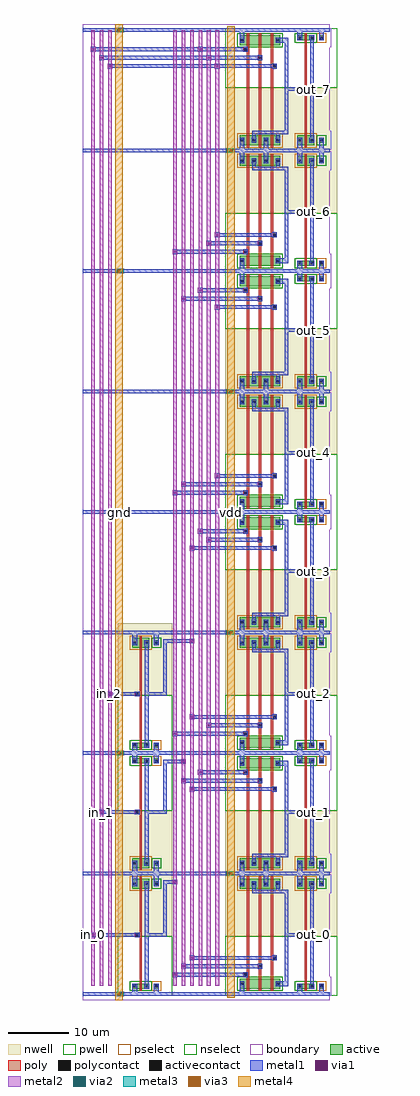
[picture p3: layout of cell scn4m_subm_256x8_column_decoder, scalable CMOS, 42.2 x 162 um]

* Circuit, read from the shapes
.subckt scn4m_subm_256x8_column_decoder gnd in_0 in_1 in_2 out_0 out_1 out_2 out_3 out_4 out_5 out_6 out_7 vdd
M1 scn4m_subm_256x8_hierarchical_predecode3x8_0_0/scn4m_subm_256x8_pand3_3/A in_0 gnd gnd nfet w=0.8u l=0.4u
M2 scn4m_subm_256x8_hierarchical_predecode3x8_0_0/scn4m_subm_256x8_pand3_3/B in_1 gnd gnd nfet w=0.8u l=0.4u
M3 scn4m_subm_256x8_hierarchical_predecode3x8_0_0/scn4m_subm_256x8_pand3_3/C in_2 gnd gnd nfet w=0.8u l=0.4u
M4 scn4m_subm_256x8_hierarchical_predecode3x8_0_0/scn4m_subm_256x8_pand3_3/scn4m_subm_256x8_pnand3_0_0/scn4m_subm_256x8_nmos_m1_w1_600_sm1_dactive_3/D scn4m_subm_256x8_hierarchical_predecode3x8_0_0/scn4m_subm_256x8_pand3_3/A gnd gnd nfet w=1.6u l=0.4u
M5 scn4m_subm_256x8_hierarchical_predecode3x8_0_0/scn4m_subm_256x8_pand3_4/scn4m_subm_256x8_pnand3_0_0/scn4m_subm_256x8_nmos_m1_w1_600_sm1_dactive_3/D in_0 gnd gnd nfet w=1.6u l=0.4u
M6 scn4m_subm_256x8_hierarchical_predecode3x8_0_0/scn4m_subm_256x8_pand3_5/scn4m_subm_256x8_pnand3_0_0/scn4m_subm_256x8_nmos_m1_w1_600_sm1_dactive_3/D scn4m_subm_256x8_hierarchical_predecode3x8_0_0/scn4m_subm_256x8_pand3_3/A gnd gnd nfet w=1.6u l=0.4u
M7 scn4m_subm_256x8_hierarchical_predecode3x8_0_0/scn4m_subm_256x8_pand3_6/scn4m_subm_256x8_pnand3_0_0/scn4m_subm_256x8_nmos_m1_w1_600_sm1_dactive_3/D in_0 gnd gnd nfet w=1.6u l=0.4u
M8 scn4m_subm_256x8_hierarchical_predecode3x8_0_0/scn4m_subm_256x8_pand3_7/scn4m_subm_256x8_pnand3_0_0/scn4m_subm_256x8_nmos_m1_w1_600_sm1_dactive_3/D scn4m_subm_256x8_hierarchical_predecode3x8_0_0/scn4m_subm_256x8_pand3_3/A gnd gnd nfet w=1.6u l=0.4u
M9 scn4m_subm_256x8_hierarchical_predecode3x8_0_0/scn4m_subm_256x8_pand3_8/scn4m_subm_256x8_pnand3_0_0/scn4m_subm_256x8_nmos_m1_w1_600_sm1_dactive_3/D in_0 gnd gnd nfet w=1.6u l=0.4u
M10 scn4m_subm_256x8_hierarchical_predecode3x8_0_0/scn4m_subm_256x8_pand3_9/scn4m_subm_256x8_pnand3_0_0/scn4m_subm_256x8_nmos_m1_w1_600_sm1_dactive_3/D scn4m_subm_256x8_hierarchical_predecode3x8_0_0/scn4m_subm_256x8_pand3_3/A gnd gnd nfet w=1.6u l=0.4u
M11 scn4m_subm_256x8_hierarchical_predecode3x8_0_0/scn4m_subm_256x8_pand3_10/scn4m_subm_256x8_pnand3_0_0/scn4m_subm_256x8_nmos_m1_w1_600_sm1_dactive_3/D in_0 gnd gnd nfet w=1.6u l=0.4u
M12 scn4m_subm_256x8_hierarchical_predecode3x8_0_0/scn4m_subm_256x8_pand3_3/scn4m_subm_256x8_pnand3_0_0/scn4m_subm_256x8_nmos_m1_w1_600_sactive_dactive_4/D scn4m_subm_256x8_hierarchical_predecode3x8_0_0/scn4m_subm_256x8_pand3_3/B scn4m_subm_256x8_hierarchical_predecode3x8_0_0/scn4m_subm_256x8_pand3_3/scn4m_subm_256x8_pnand3_0_0/scn4m_subm_256x8_nmos_m1_w1_600_sm1_dactive_3/D gnd nfet w=1.6u l=0.4u
M13 scn4m_subm_256x8_hierarchical_predecode3x8_0_0/scn4m_subm_256x8_pand3_4/scn4m_subm_256x8_pnand3_0_0/scn4m_subm_256x8_nmos_m1_w1_600_sactive_dactive_4/D scn4m_subm_256x8_hierarchical_predecode3x8_0_0/scn4m_subm_256x8_pand3_3/B scn4m_subm_256x8_hierarchical_predecode3x8_0_0/scn4m_subm_256x8_pand3_4/scn4m_subm_256x8_pnand3_0_0/scn4m_subm_256x8_nmos_m1_w1_600_sm1_dactive_3/D gnd nfet w=1.6u l=0.4u
M14 scn4m_subm_256x8_hierarchical_predecode3x8_0_0/scn4m_subm_256x8_pand3_5/scn4m_subm_256x8_pnand3_0_0/scn4m_subm_256x8_nmos_m1_w1_600_sactive_dactive_4/D in_1 scn4m_subm_256x8_hierarchical_predecode3x8_0_0/scn4m_subm_256x8_pand3_5/scn4m_subm_256x8_pnand3_0_0/scn4m_subm_256x8_nmos_m1_w1_600_sm1_dactive_3/D gnd nfet w=1.6u l=0.4u
M15 scn4m_subm_256x8_hierarchical_predecode3x8_0_0/scn4m_subm_256x8_pand3_6/scn4m_subm_256x8_pnand3_0_0/scn4m_subm_256x8_nmos_m1_w1_600_sactive_dactive_4/D in_1 scn4m_subm_256x8_hierarchical_predecode3x8_0_0/scn4m_subm_256x8_pand3_6/scn4m_subm_256x8_pnand3_0_0/scn4m_subm_256x8_nmos_m1_w1_600_sm1_dactive_3/D gnd nfet w=1.6u l=0.4u
M16 scn4m_subm_256x8_hierarchical_predecode3x8_0_0/scn4m_subm_256x8_pand3_7/scn4m_subm_256x8_pnand3_0_0/scn4m_subm_256x8_nmos_m1_w1_600_sactive_dactive_4/D scn4m_subm_256x8_hierarchical_predecode3x8_0_0/scn4m_subm_256x8_pand3_3/B scn4m_subm_256x8_hierarchical_predecode3x8_0_0/scn4m_subm_256x8_pand3_7/scn4m_subm_256x8_pnand3_0_0/scn4m_subm_256x8_nmos_m1_w1_600_sm1_dactive_3/D gnd nfet w=1.6u l=0.4u
M17 scn4m_subm_256x8_hierarchical_predecode3x8_0_0/scn4m_subm_256x8_pand3_8/scn4m_subm_256x8_pnand3_0_0/scn4m_subm_256x8_nmos_m1_w1_600_sactive_dactive_4/D scn4m_subm_256x8_hierarchical_predecode3x8_0_0/scn4m_subm_256x8_pand3_3/B scn4m_subm_256x8_hierarchical_predecode3x8_0_0/scn4m_subm_256x8_pand3_8/scn4m_subm_256x8_pnand3_0_0/scn4m_subm_256x8_nmos_m1_w1_600_sm1_dactive_3/D gnd nfet w=1.6u l=0.4u
M18 scn4m_subm_256x8_hierarchical_predecode3x8_0_0/scn4m_subm_256x8_pand3_9/scn4m_subm_256x8_pnand3_0_0/scn4m_subm_256x8_nmos_m1_w1_600_sactive_dactive_4/D in_1 scn4m_subm_256x8_hierarchical_predecode3x8_0_0/scn4m_subm_256x8_pand3_9/scn4m_subm_256x8_pnand3_0_0/scn4m_subm_256x8_nmos_m1_w1_600_sm1_dactive_3/D gnd nfet w=1.6u l=0.4u
M19 scn4m_subm_256x8_hierarchical_predecode3x8_0_0/scn4m_subm_256x8_pand3_10/scn4m_subm_256x8_pnand3_0_0/scn4m_subm_256x8_nmos_m1_w1_600_sactive_dactive_4/D in_1 scn4m_subm_256x8_hierarchical_predecode3x8_0_0/scn4m_subm_256x8_pand3_10/scn4m_subm_256x8_pnand3_0_0/scn4m_subm_256x8_nmos_m1_w1_600_sm1_dactive_3/D gnd nfet w=1.6u l=0.4u
M20 scn4m_subm_256x8_hierarchical_predecode3x8_0_0/scn4m_subm_256x8_pand3_3/scn4m_subm_256x8_pdriver_1/A scn4m_subm_256x8_hierarchical_predecode3x8_0_0/scn4m_subm_256x8_pand3_3/C scn4m_subm_256x8_hierarchical_predecode3x8_0_0/scn4m_subm_256x8_pand3_3/scn4m_subm_256x8_pnand3_0_0/scn4m_subm_256x8_nmos_m1_w1_600_sactive_dactive_4/D gnd nfet w=1.6u l=0.4u
M21 scn4m_subm_256x8_hierarchical_predecode3x8_0_0/scn4m_subm_256x8_pand3_4/scn4m_subm_256x8_pdriver_1/A scn4m_subm_256x8_hierarchical_predecode3x8_0_0/scn4m_subm_256x8_pand3_3/C scn4m_subm_256x8_hierarchical_predecode3x8_0_0/scn4m_subm_256x8_pand3_4/scn4m_subm_256x8_pnand3_0_0/scn4m_subm_256x8_nmos_m1_w1_600_sactive_dactive_4/D gnd nfet w=1.6u l=0.4u
M22 scn4m_subm_256x8_hierarchical_predecode3x8_0_0/scn4m_subm_256x8_pand3_5/scn4m_subm_256x8_pdriver_1/A scn4m_subm_256x8_hierarchical_predecode3x8_0_0/scn4m_subm_256x8_pand3_3/C scn4m_subm_256x8_hierarchical_predecode3x8_0_0/scn4m_subm_256x8_pand3_5/scn4m_subm_256x8_pnand3_0_0/scn4m_subm_256x8_nmos_m1_w1_600_sactive_dactive_4/D gnd nfet w=1.6u l=0.4u
M23 scn4m_subm_256x8_hierarchical_predecode3x8_0_0/scn4m_subm_256x8_pand3_6/scn4m_subm_256x8_pdriver_1/A scn4m_subm_256x8_hierarchical_predecode3x8_0_0/scn4m_subm_256x8_pand3_3/C scn4m_subm_256x8_hierarchical_predecode3x8_0_0/scn4m_subm_256x8_pand3_6/scn4m_subm_256x8_pnand3_0_0/scn4m_subm_256x8_nmos_m1_w1_600_sactive_dactive_4/D gnd nfet w=1.6u l=0.4u
M24 scn4m_subm_256x8_hierarchical_predecode3x8_0_0/scn4m_subm_256x8_pand3_7/scn4m_subm_256x8_pdriver_1/A in_2 scn4m_subm_256x8_hierarchical_predecode3x8_0_0/scn4m_subm_256x8_pand3_7/scn4m_subm_256x8_pnand3_0_0/scn4m_subm_256x8_nmos_m1_w1_600_sactive_dactive_4/D gnd nfet w=1.6u l=0.4u
M25 scn4m_subm_256x8_hierarchical_predecode3x8_0_0/scn4m_subm_256x8_pand3_8/scn4m_subm_256x8_pdriver_1/A in_2 scn4m_subm_256x8_hierarchical_predecode3x8_0_0/scn4m_subm_256x8_pand3_8/scn4m_subm_256x8_pnand3_0_0/scn4m_subm_256x8_nmos_m1_w1_600_sactive_dactive_4/D gnd nfet w=1.6u l=0.4u
M26 scn4m_subm_256x8_hierarchical_predecode3x8_0_0/scn4m_subm_256x8_pand3_9/scn4m_subm_256x8_pdriver_1/A in_2 scn4m_subm_256x8_hierarchical_predecode3x8_0_0/scn4m_subm_256x8_pand3_9/scn4m_subm_256x8_pnand3_0_0/scn4m_subm_256x8_nmos_m1_w1_600_sactive_dactive_4/D gnd nfet w=1.6u l=0.4u
M27 scn4m_subm_256x8_hierarchical_predecode3x8_0_0/scn4m_subm_256x8_pand3_10/scn4m_subm_256x8_pdriver_1/A in_2 scn4m_subm_256x8_hierarchical_predecode3x8_0_0/scn4m_subm_256x8_pand3_10/scn4m_subm_256x8_pnand3_0_0/scn4m_subm_256x8_nmos_m1_w1_600_sactive_dactive_4/D gnd nfet w=1.6u l=0.4u
M28 out_0 scn4m_subm_256x8_hierarchical_predecode3x8_0_0/scn4m_subm_256x8_pand3_3/scn4m_subm_256x8_pdriver_1/A gnd gnd nfet w=0.8u l=0.4u
M29 out_1 scn4m_subm_256x8_hierarchical_predecode3x8_0_0/scn4m_subm_256x8_pand3_4/scn4m_subm_256x8_pdriver_1/A gnd gnd nfet w=0.8u l=0.4u
M30 out_2 scn4m_subm_256x8_hierarchical_predecode3x8_0_0/scn4m_subm_256x8_pand3_5/scn4m_subm_256x8_pdriver_1/A gnd gnd nfet w=0.8u l=0.4u
M31 out_3 scn4m_subm_256x8_hierarchical_predecode3x8_0_0/scn4m_subm_256x8_pand3_6/scn4m_subm_256x8_pdriver_1/A gnd gnd nfet w=0.8u l=0.4u
M32 out_4 scn4m_subm_256x8_hierarchical_predecode3x8_0_0/scn4m_subm_256x8_pand3_7/scn4m_subm_256x8_pdriver_1/A gnd gnd nfet w=0.8u l=0.4u
M33 out_5 scn4m_subm_256x8_hierarchical_predecode3x8_0_0/scn4m_subm_256x8_pand3_8/scn4m_subm_256x8_pdriver_1/A gnd gnd nfet w=0.8u l=0.4u
M34 out_6 scn4m_subm_256x8_hierarchical_predecode3x8_0_0/scn4m_subm_256x8_pand3_9/scn4m_subm_256x8_pdriver_1/A gnd gnd nfet w=0.8u l=0.4u
M35 out_7 scn4m_subm_256x8_hierarchical_predecode3x8_0_0/scn4m_subm_256x8_pand3_10/scn4m_subm_256x8_pdriver_1/A gnd gnd nfet w=0.8u l=0.4u
M36 scn4m_subm_256x8_hierarchical_predecode3x8_0_0/scn4m_subm_256x8_pand3_3/A in_0 vdd vdd pfet w=1.6u l=0.4u
M37 scn4m_subm_256x8_hierarchical_predecode3x8_0_0/scn4m_subm_256x8_pand3_3/B in_1 vdd vdd pfet w=1.6u l=0.4u
M38 scn4m_subm_256x8_hierarchical_predecode3x8_0_0/scn4m_subm_256x8_pand3_3/C in_2 vdd vdd pfet w=1.6u l=0.4u
M39 scn4m_subm_256x8_hierarchical_predecode3x8_0_0/scn4m_subm_256x8_pand3_3/scn4m_subm_256x8_pdriver_1/A scn4m_subm_256x8_hierarchical_predecode3x8_0_0/scn4m_subm_256x8_pand3_3/A vdd vdd pfet w=1.6u l=0.4u
M40 scn4m_subm_256x8_hierarchical_predecode3x8_0_0/scn4m_subm_256x8_pand3_4/scn4m_subm_256x8_pdriver_1/A in_0 vdd vdd pfet w=1.6u l=0.4u
M41 scn4m_subm_256x8_hierarchical_predecode3x8_0_0/scn4m_subm_256x8_pand3_5/scn4m_subm_256x8_pdriver_1/A scn4m_subm_256x8_hierarchical_predecode3x8_0_0/scn4m_subm_256x8_pand3_3/A vdd vdd pfet w=1.6u l=0.4u
M42 scn4m_subm_256x8_hierarchical_predecode3x8_0_0/scn4m_subm_256x8_pand3_6/scn4m_subm_256x8_pdriver_1/A in_0 vdd vdd pfet w=1.6u l=0.4u
M43 scn4m_subm_256x8_hierarchical_predecode3x8_0_0/scn4m_subm_256x8_pand3_7/scn4m_subm_256x8_pdriver_1/A scn4m_subm_256x8_hierarchical_predecode3x8_0_0/scn4m_subm_256x8_pand3_3/A vdd vdd pfet w=1.6u l=0.4u
M44 scn4m_subm_256x8_hierarchical_predecode3x8_0_0/scn4m_subm_256x8_pand3_8/scn4m_subm_256x8_pdriver_1/A in_0 vdd vdd pfet w=1.6u l=0.4u
M45 scn4m_subm_256x8_hierarchical_predecode3x8_0_0/scn4m_subm_256x8_pand3_9/scn4m_subm_256x8_pdriver_1/A scn4m_subm_256x8_hierarchical_predecode3x8_0_0/scn4m_subm_256x8_pand3_3/A vdd vdd pfet w=1.6u l=0.4u
M46 scn4m_subm_256x8_hierarchical_predecode3x8_0_0/scn4m_subm_256x8_pand3_10/scn4m_subm_256x8_pdriver_1/A in_0 vdd vdd pfet w=1.6u l=0.4u
M47 vdd scn4m_subm_256x8_hierarchical_predecode3x8_0_0/scn4m_subm_256x8_pand3_3/B scn4m_subm_256x8_hierarchical_predecode3x8_0_0/scn4m_subm_256x8_pand3_3/scn4m_subm_256x8_pdriver_1/A vdd pfet w=1.6u l=0.4u
M48 vdd scn4m_subm_256x8_hierarchical_predecode3x8_0_0/scn4m_subm_256x8_pand3_3/B scn4m_subm_256x8_hierarchical_predecode3x8_0_0/scn4m_subm_256x8_pand3_4/scn4m_subm_256x8_pdriver_1/A vdd pfet w=1.6u l=0.4u
M49 vdd in_1 scn4m_subm_256x8_hierarchical_predecode3x8_0_0/scn4m_subm_256x8_pand3_5/scn4m_subm_256x8_pdriver_1/A vdd pfet w=1.6u l=0.4u
M50 vdd in_1 scn4m_subm_256x8_hierarchical_predecode3x8_0_0/scn4m_subm_256x8_pand3_6/scn4m_subm_256x8_pdriver_1/A vdd pfet w=1.6u l=0.4u
M51 vdd scn4m_subm_256x8_hierarchical_predecode3x8_0_0/scn4m_subm_256x8_pand3_3/B scn4m_subm_256x8_hierarchical_predecode3x8_0_0/scn4m_subm_256x8_pand3_7/scn4m_subm_256x8_pdriver_1/A vdd pfet w=1.6u l=0.4u
M52 vdd scn4m_subm_256x8_hierarchical_predecode3x8_0_0/scn4m_subm_256x8_pand3_3/B scn4m_subm_256x8_hierarchical_predecode3x8_0_0/scn4m_subm_256x8_pand3_8/scn4m_subm_256x8_pdriver_1/A vdd pfet w=1.6u l=0.4u
M53 vdd in_1 scn4m_subm_256x8_hierarchical_predecode3x8_0_0/scn4m_subm_256x8_pand3_9/scn4m_subm_256x8_pdriver_1/A vdd pfet w=1.6u l=0.4u
M54 vdd in_1 scn4m_subm_256x8_hierarchical_predecode3x8_0_0/scn4m_subm_256x8_pand3_10/scn4m_subm_256x8_pdriver_1/A vdd pfet w=1.6u l=0.4u
M55 scn4m_subm_256x8_hierarchical_predecode3x8_0_0/scn4m_subm_256x8_pand3_3/scn4m_subm_256x8_pdriver_1/A scn4m_subm_256x8_hierarchical_predecode3x8_0_0/scn4m_subm_256x8_pand3_3/C vdd vdd pfet w=1.6u l=0.4u
M56 scn4m_subm_256x8_hierarchical_predecode3x8_0_0/scn4m_subm_256x8_pand3_4/scn4m_subm_256x8_pdriver_1/A scn4m_subm_256x8_hierarchical_predecode3x8_0_0/scn4m_subm_256x8_pand3_3/C vdd vdd pfet w=1.6u l=0.4u
M57 scn4m_subm_256x8_hierarchical_predecode3x8_0_0/scn4m_subm_256x8_pand3_5/scn4m_subm_256x8_pdriver_1/A scn4m_subm_256x8_hierarchical_predecode3x8_0_0/scn4m_subm_256x8_pand3_3/C vdd vdd pfet w=1.6u l=0.4u
M58 scn4m_subm_256x8_hierarchical_predecode3x8_0_0/scn4m_subm_256x8_pand3_6/scn4m_subm_256x8_pdriver_1/A scn4m_subm_256x8_hierarchical_predecode3x8_0_0/scn4m_subm_256x8_pand3_3/C vdd vdd pfet w=1.6u l=0.4u
M59 scn4m_subm_256x8_hierarchical_predecode3x8_0_0/scn4m_subm_256x8_pand3_7/scn4m_subm_256x8_pdriver_1/A in_2 vdd vdd pfet w=1.6u l=0.4u
M60 scn4m_subm_256x8_hierarchical_predecode3x8_0_0/scn4m_subm_256x8_pand3_8/scn4m_subm_256x8_pdriver_1/A in_2 vdd vdd pfet w=1.6u l=0.4u
M61 scn4m_subm_256x8_hierarchical_predecode3x8_0_0/scn4m_subm_256x8_pand3_9/scn4m_subm_256x8_pdriver_1/A in_2 vdd vdd pfet w=1.6u l=0.4u
M62 scn4m_subm_256x8_hierarchical_predecode3x8_0_0/scn4m_subm_256x8_pand3_10/scn4m_subm_256x8_pdriver_1/A in_2 vdd vdd pfet w=1.6u l=0.4u
M63 out_0 scn4m_subm_256x8_hierarchical_predecode3x8_0_0/scn4m_subm_256x8_pand3_3/scn4m_subm_256x8_pdriver_1/A vdd vdd pfet w=1.6u l=0.4u
M64 out_1 scn4m_subm_256x8_hierarchical_predecode3x8_0_0/scn4m_subm_256x8_pand3_4/scn4m_subm_256x8_pdriver_1/A vdd vdd pfet w=1.6u l=0.4u
M65 out_2 scn4m_subm_256x8_hierarchical_predecode3x8_0_0/scn4m_subm_256x8_pand3_5/scn4m_subm_256x8_pdriver_1/A vdd vdd pfet w=1.6u l=0.4u
M66 out_3 scn4m_subm_256x8_hierarchical_predecode3x8_0_0/scn4m_subm_256x8_pand3_6/scn4m_subm_256x8_pdriver_1/A vdd vdd pfet w=1.6u l=0.4u
M67 out_4 scn4m_subm_256x8_hierarchical_predecode3x8_0_0/scn4m_subm_256x8_pand3_7/scn4m_subm_256x8_pdriver_1/A vdd vdd pfet w=1.6u l=0.4u
M68 out_5 scn4m_subm_256x8_hierarchical_predecode3x8_0_0/scn4m_subm_256x8_pand3_8/scn4m_subm_256x8_pdriver_1/A vdd vdd pfet w=1.6u l=0.4u
M69 out_6 scn4m_subm_256x8_hierarchical_predecode3x8_0_0/scn4m_subm_256x8_pand3_9/scn4m_subm_256x8_pdriver_1/A vdd vdd pfet w=1.6u l=0.4u
M70 out_7 scn4m_subm_256x8_hierarchical_predecode3x8_0_0/scn4m_subm_256x8_pand3_10/scn4m_subm_256x8_pdriver_1/A vdd vdd pfet w=1.6u l=0.4u
.ends

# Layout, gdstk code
import gdstk
lib = gdstk.Library(unit=1e-6, precision=1e-09)
def R(c, l, rs):  # rectangles x0, y0, x1, y1
    for r in rs: c.add(gdstk.rectangle(r[:2], r[2:], *l))
def A(c, l, x, y, w, h, nx, ny, dx, dy):  # array of equal rectangles
    R(c, l, [(x+i*dx, y+j*dy, x+i*dx+w, y+j*dy+h) for i in range(nx) for j in range(ny)])
via3 = (30, 0)
metal4 = (31, 0)
pwell = (41, 0)
nwell = (42, 0)
active = (43, 0)
pselect = (44, 0)
nselect = (45, 0)
poly = (46, 0)
polycontact = (47, 0)
activecontact = (48, 0)
metal1 = (49, 0)
via1 = (50, 0)
metal2 = (51, 0)
via2 = (61, 0)
metal3 = (62, 0)
boundary = (63, 0)

scn4m_subm_256x8_contact = lib.new_cell('scn4m_subm_256x8_contact_12')
R(scn4m_subm_256x8_contact, nwell, [(-1.2,-1.2,2,2)])
R(scn4m_subm_256x8_contact, active, [(0,0,0.8,0.8)])
R(scn4m_subm_256x8_contact, pselect, [(-0.4,-0.4,1.2,1.2)])
R(scn4m_subm_256x8_contact, activecontact, [(0.2,0.2,0.6,0.6)])
R(scn4m_subm_256x8_contact, metal1, [(0,0,0.8,0.8)])
R(scn4m_subm_256x8_contact, boundary, [(-1.2,-1.2,2,2)])

scn4m_subm_256x8_pmos_m1 = lib.new_cell('scn4m_subm_256x8_pmos_m1_w1_600_sm1_dm1_da_p')
R(scn4m_subm_256x8_pmos_m1, nwell, [(-1.2,-1.2,4,2.8)])
R(scn4m_subm_256x8_pmos_m1, active, [(0,0,2.8,1.6)])
R(scn4m_subm_256x8_pmos_m1, pselect, [(-0.4,-0.4,3.2,2)])
R(scn4m_subm_256x8_pmos_m1, poly, [(1.2,-0.4,1.6,2), (1.2,-0.4,1.6,2)])
R(scn4m_subm_256x8_pmos_m1, metal1, [(0,0.4,0.8,1.2), (2,0.4,2.8,1.2)])
R(scn4m_subm_256x8_pmos_m1, boundary, [(-1.2,-1.2,4,2.8)])
scn4m_subm_256x8_pmos_m1.add(gdstk.Reference(scn4m_subm_256x8_contact, (0,0.4)))
scn4m_subm_256x8_pmos_m1.add(gdstk.Reference(scn4m_subm_256x8_contact, (2,0.4)))
scn4m_subm_256x8_pmos_m1.add(gdstk.Label('G', (1.4,0.8), layer=46, texttype=0))
scn4m_subm_256x8_pmos_m1.add(gdstk.Label('S', (0.4,0.8), layer=49, texttype=0))
scn4m_subm_256x8_pmos_m1.add(gdstk.Label('D', (2.4,0.8), layer=49, texttype=0))

c_scn4m_subm_256x8_contact = lib.new_cell('scn4m_subm_256x8_contact_11')
R(c_scn4m_subm_256x8_contact, pwell, [(-1.2,-1.2,2,2)])
R(c_scn4m_subm_256x8_contact, active, [(0,0,0.8,0.8)])
R(c_scn4m_subm_256x8_contact, nselect, [(-0.4,-0.4,1.2,1.2)])
R(c_scn4m_subm_256x8_contact, activecontact, [(0.2,0.2,0.6,0.6)])
R(c_scn4m_subm_256x8_contact, metal1, [(0,0,0.8,0.8)])
R(c_scn4m_subm_256x8_contact, boundary, [(-1.2,-1.2,2,2)])

scn4m_subm_256x8_nmos_m1 = lib.new_cell('scn4m_subm_256x8_nmos_m1_w0_800_sm1_dm1_da_p')
R(scn4m_subm_256x8_nmos_m1, pwell, [(-1.2,-1.2,4,2)])
R(scn4m_subm_256x8_nmos_m1, active, [(0,0,2.8,0.8)])
R(scn4m_subm_256x8_nmos_m1, nselect, [(-0.4,-0.4,3.2,1.2)])
R(scn4m_subm_256x8_nmos_m1, poly, [(1.2,-0.4,1.6,1.2), (1.2,-0.4,1.6,1.2)])
R(scn4m_subm_256x8_nmos_m1, metal1, [(0,0,0.8,0.8), (2,0,2.8,0.8)])
R(scn4m_subm_256x8_nmos_m1, boundary, [(-1.2,-1.2,4,2)])
scn4m_subm_256x8_nmos_m1.add(gdstk.Reference(c_scn4m_subm_256x8_contact, (0,0)))
scn4m_subm_256x8_nmos_m1.add(gdstk.Reference(c_scn4m_subm_256x8_contact, (2,0)))
scn4m_subm_256x8_nmos_m1.add(gdstk.Label('G', (1.4,0.4), layer=46, texttype=0))
scn4m_subm_256x8_nmos_m1.add(gdstk.Label('S', (0.4,0.4), layer=49, texttype=0))
scn4m_subm_256x8_nmos_m1.add(gdstk.Label('D', (2.4,0.4), layer=49, texttype=0))

c_scn4m_subm_256x8_contact_ = lib.new_cell('scn4m_subm_256x8_contact_13')
R(c_scn4m_subm_256x8_contact_, nwell, [(-1.2,-1.2,2,2)])
R(c_scn4m_subm_256x8_contact_, active, [(0,0,0.8,0.8)])
R(c_scn4m_subm_256x8_contact_, nselect, [(-0.4,-0.4,1.2,1.2)])
R(c_scn4m_subm_256x8_contact_, activecontact, [(0.2,0.2,0.6,0.6)])
R(c_scn4m_subm_256x8_contact_, metal1, [(0,0,0.8,0.8)])
R(c_scn4m_subm_256x8_contact_, boundary, [(-1.2,-1.2,2,2)])

c_scn4m_subm_256x8_contact__ = lib.new_cell('scn4m_subm_256x8_contact_14')
R(c_scn4m_subm_256x8_contact__, pwell, [(-1.2,-1.2,2,2)])
R(c_scn4m_subm_256x8_contact__, active, [(0,0,0.8,0.8)])
R(c_scn4m_subm_256x8_contact__, pselect, [(-0.4,-0.4,1.2,1.2)])
R(c_scn4m_subm_256x8_contact__, activecontact, [(0.2,0.2,0.6,0.6)])
R(c_scn4m_subm_256x8_contact__, metal1, [(0,0,0.8,0.8)])
R(c_scn4m_subm_256x8_contact__, boundary, [(-1.2,-1.2,2,2)])

c_scn4m_subm_256x8_contact___ = lib.new_cell('scn4m_subm_256x8_contact_15')
R(c_scn4m_subm_256x8_contact___, poly, [(0,0,0.8,0.8)])
R(c_scn4m_subm_256x8_contact___, polycontact, [(0.2,0.2,0.6,0.6)])
R(c_scn4m_subm_256x8_contact___, metal1, [(0,0,0.8,0.8)])
R(c_scn4m_subm_256x8_contact___, boundary, [(0,0,0.8,0.8)])

scn4m_subm_256x8_pinv_2 = lib.new_cell('scn4m_subm_256x8_pinv_2')
R(scn4m_subm_256x8_pinv_2, pwell, [(-1.2,-0.3,7.8,9.6)])
R(scn4m_subm_256x8_pinv_2, nwell, [(-1.2,9.6,7.8,21.5)])
R(scn4m_subm_256x8_pinv_2, poly, [(2.4,2.1,2.8,17.1), (2,9.4,2.4,10.2)])
R(scn4m_subm_256x8_pinv_2, metal1, [(0,-0.3,6.6,0.3), (1.2,-0.3,2,0.9), (4.8,0,5.6,1.3), (3.3,0.9,3.9,18.7), (1.6,9.4,2.4,10.2), (3.6,9.5,4.2,10.1), (1.2,17.9,2,20.3), (4.8,18.3,5.6,20), (0,19.7,6.6,20.3)])
R(scn4m_subm_256x8_pinv_2, boundary, [(0,0,6.6,20), (0,0,6.6,20)])
scn4m_subm_256x8_pinv_2.add(gdstk.Reference(scn4m_subm_256x8_pmos_m1, (1.2,17.5)))
scn4m_subm_256x8_pinv_2.add(gdstk.Reference(scn4m_subm_256x8_nmos_m1, (1.2,0.9)))
scn4m_subm_256x8_pinv_2.add(gdstk.Reference(c_scn4m_subm_256x8_contact_, (4.8,17.9)))
scn4m_subm_256x8_pinv_2.add(gdstk.Reference(c_scn4m_subm_256x8_contact__, (4.8,0.9)))
scn4m_subm_256x8_pinv_2.add(gdstk.Reference(c_scn4m_subm_256x8_contact___, (1.6,9.4)))
scn4m_subm_256x8_pinv_2.add(gdstk.Label('A', (2,9.8), layer=49, texttype=0))
scn4m_subm_256x8_pinv_2.add(gdstk.Label('Z', (3.9,9.8), layer=49, texttype=0))
scn4m_subm_256x8_pinv_2.add(gdstk.Label('gnd', (3.3,0), layer=49, texttype=0))
scn4m_subm_256x8_pinv_2.add(gdstk.Label('vdd', (3.3,20), layer=49, texttype=0))

c_scn4m_subm_256x8_pmos_m1 = lib.new_cell('scn4m_subm_256x8_pmos_m1_w1_600_sm1_dm1')
R(c_scn4m_subm_256x8_pmos_m1, nwell, [(-1.2,-1.2,4,2.8)])
R(c_scn4m_subm_256x8_pmos_m1, active, [(0,0,2.8,1.6)])
R(c_scn4m_subm_256x8_pmos_m1, pselect, [(-0.4,-0.4,3.2,2)])
R(c_scn4m_subm_256x8_pmos_m1, poly, [(1.2,-0.4,1.6,2), (1.2,-0.4,1.6,2)])
R(c_scn4m_subm_256x8_pmos_m1, metal1, [(0,0.4,0.8,1.2), (2,0.4,2.8,1.2)])
R(c_scn4m_subm_256x8_pmos_m1, boundary, [(-1.2,-1.2,4,2.8)])
c_scn4m_subm_256x8_pmos_m1.add(gdstk.Reference(scn4m_subm_256x8_contact, (0,0.4)))
c_scn4m_subm_256x8_pmos_m1.add(gdstk.Reference(scn4m_subm_256x8_contact, (2,0.4)))
c_scn4m_subm_256x8_pmos_m1.add(gdstk.Label('G', (1.4,0.8), layer=46, texttype=0))
c_scn4m_subm_256x8_pmos_m1.add(gdstk.Label('S', (0.4,0.8), layer=49, texttype=0))
c_scn4m_subm_256x8_pmos_m1.add(gdstk.Label('D', (2.4,0.8), layer=49, texttype=0))

c_scn4m_subm_256x8_nmos_m1 = lib.new_cell('scn4m_subm_256x8_nmos_m1_w1_600_sm1_dactive')
R(c_scn4m_subm_256x8_nmos_m1, pwell, [(-1.2,-1.2,4,2.8)])
R(c_scn4m_subm_256x8_nmos_m1, active, [(0,0,2.8,1.6), (2.1,0.5,2.7,1.1)])
R(c_scn4m_subm_256x8_nmos_m1, nselect, [(-0.4,-0.4,3.2,2)])
R(c_scn4m_subm_256x8_nmos_m1, poly, [(1.2,-0.4,1.6,2), (1.2,-0.4,1.6,2)])
R(c_scn4m_subm_256x8_nmos_m1, metal1, [(0,0.4,0.8,1.2)])
R(c_scn4m_subm_256x8_nmos_m1, boundary, [(-1.2,-1.2,4,2.8)])
c_scn4m_subm_256x8_nmos_m1.add(gdstk.Reference(c_scn4m_subm_256x8_contact, (0,0.4)))
c_scn4m_subm_256x8_nmos_m1.add(gdstk.Label('G', (1.4,0.8), layer=46, texttype=0))
c_scn4m_subm_256x8_nmos_m1.add(gdstk.Label('S', (0.4,0.8), layer=49, texttype=0))
c_scn4m_subm_256x8_nmos_m1.add(gdstk.Label('D', (2.4,0.8), layer=43, texttype=0))

c_scn4m_subm_256x8_nmos_m1_ = lib.new_cell('scn4m_subm_256x8_nmos_m1_w1_600_sactive_dactive')
R(c_scn4m_subm_256x8_nmos_m1_, pwell, [(-1.2,-1.2,4,2.8)])
R(c_scn4m_subm_256x8_nmos_m1_, active, [(0,0,2.8,1.6), (0.1,0.5,0.7,1.1), (2.1,0.5,2.7,1.1)])
R(c_scn4m_subm_256x8_nmos_m1_, nselect, [(-0.4,-0.4,3.2,2)])
R(c_scn4m_subm_256x8_nmos_m1_, poly, [(1.2,-0.4,1.6,2), (1.2,-0.4,1.6,2)])
R(c_scn4m_subm_256x8_nmos_m1_, boundary, [(-1.2,-1.2,4,2.8)])
c_scn4m_subm_256x8_nmos_m1_.add(gdstk.Label('G', (1.4,0.8), layer=46, texttype=0))
c_scn4m_subm_256x8_nmos_m1_.add(gdstk.Label('S', (0.4,0.8), layer=43, texttype=0))
c_scn4m_subm_256x8_nmos_m1_.add(gdstk.Label('D', (2.4,0.8), layer=43, texttype=0))

c_scn4m_subm_256x8_nmos_m1__ = lib.new_cell('scn4m_subm_256x8_nmos_m1_w1_600_sactive_dm1')
R(c_scn4m_subm_256x8_nmos_m1__, pwell, [(-1.2,-1.2,4,2.8)])
R(c_scn4m_subm_256x8_nmos_m1__, active, [(0,0,2.8,1.6), (0.1,0.5,0.7,1.1)])
R(c_scn4m_subm_256x8_nmos_m1__, nselect, [(-0.4,-0.4,3.2,2)])
R(c_scn4m_subm_256x8_nmos_m1__, poly, [(1.2,-0.4,1.6,2), (1.2,-0.4,1.6,2)])
R(c_scn4m_subm_256x8_nmos_m1__, metal1, [(2,0.4,2.8,1.2)])
R(c_scn4m_subm_256x8_nmos_m1__, boundary, [(-1.2,-1.2,4,2.8)])
c_scn4m_subm_256x8_nmos_m1__.add(gdstk.Reference(c_scn4m_subm_256x8_contact, (2,0.4)))
c_scn4m_subm_256x8_nmos_m1__.add(gdstk.Label('G', (1.4,0.8), layer=46, texttype=0))
c_scn4m_subm_256x8_nmos_m1__.add(gdstk.Label('S', (0.4,0.8), layer=43, texttype=0))
c_scn4m_subm_256x8_nmos_m1__.add(gdstk.Label('D', (2.4,0.8), layer=49, texttype=0))

scn4m_subm_256x8_pnand3_ = lib.new_cell('scn4m_subm_256x8_pnand3_0')
R(scn4m_subm_256x8_pnand3_, pwell, [(-1.2,-0.3,10.8,9.6)])
R(scn4m_subm_256x8_pnand3_, nwell, [(-1.2,9.6,10.8,21.5)])
A(scn4m_subm_256x8_pnand3_, poly, 2.4, 2.9, 0.4, 14.2, 3, 1, 2, 0)
R(scn4m_subm_256x8_pnand3_, poly, [(2.2,2.8,2.4,3.6), (4.4,4.2,4.6,5), (6.4,5.6,7,6.4)])
R(scn4m_subm_256x8_pnand3_, metal1, [(0,-0.3,9.6,0.3), (1.2,-0.3,2,1.3), (7.6,1.3,9,2.1), (8.7,1.3,9.3,17), (1.8,2.8,2.6,3.6), (4.2,4.2,5,5), (6.6,5.6,7.4,6.4), (3.3,16.7,3.9,17.3), (3.6,16.7,9,17.3), (7.3,16.7,7.9,17.3), (7.6,16.7,9,17.3), (8.7,16.7,9.3,17.3), (3.3,17,3.9,18.3), (7.3,17,7.9,18.3), (1.2,17.9,2,20.3), (5.2,17.9,6,20.3), (0,19.7,9.6,20.3)])
R(scn4m_subm_256x8_pnand3_, boundary, [(0,0,9.6,20), (0,0,9.6,20)])
scn4m_subm_256x8_pnand3_.add(gdstk.Reference(c_scn4m_subm_256x8_pmos_m1, (1.2,17.5)))
scn4m_subm_256x8_pnand3_.add(gdstk.Reference(c_scn4m_subm_256x8_pmos_m1, (3.2,17.5)))
scn4m_subm_256x8_pnand3_.add(gdstk.Reference(c_scn4m_subm_256x8_pmos_m1, (5.2,17.5)))
scn4m_subm_256x8_pnand3_.add(gdstk.Reference(c_scn4m_subm_256x8_nmos_m1, (1.2,0.9)))
scn4m_subm_256x8_pnand3_.add(gdstk.Reference(c_scn4m_subm_256x8_nmos_m1_, (3.2,0.9)))
scn4m_subm_256x8_pnand3_.add(gdstk.Reference(c_scn4m_subm_256x8_nmos_m1__, (5.2,0.9)))
scn4m_subm_256x8_pnand3_.add(gdstk.Reference(c_scn4m_subm_256x8_contact___, (1.8,2.8)))
scn4m_subm_256x8_pnand3_.add(gdstk.Reference(c_scn4m_subm_256x8_contact___, (4.2,4.2)))
scn4m_subm_256x8_pnand3_.add(gdstk.Reference(c_scn4m_subm_256x8_contact___, (6.6,5.6)))
scn4m_subm_256x8_pnand3_.add(gdstk.Label('A', (2.2,3.2), layer=49, texttype=0))
scn4m_subm_256x8_pnand3_.add(gdstk.Label('B', (4.6,4.6), layer=49, texttype=0))
scn4m_subm_256x8_pnand3_.add(gdstk.Label('C', (7,6), layer=49, texttype=0))
scn4m_subm_256x8_pnand3_.add(gdstk.Label('Z', (9,17), layer=49, texttype=0))
scn4m_subm_256x8_pnand3_.add(gdstk.Label('gnd', (4.8,0), layer=49, texttype=0))
scn4m_subm_256x8_pnand3_.add(gdstk.Label('vdd', (4.8,20), layer=49, texttype=0))

scn4m_subm_256x8_pinv_1 = lib.new_cell('scn4m_subm_256x8_pinv_1')
R(scn4m_subm_256x8_pinv_1, pwell, [(-1.2,-0.3,7.8,9.6)])
R(scn4m_subm_256x8_pinv_1, nwell, [(-1.2,9.6,7.8,21.5)])
R(scn4m_subm_256x8_pinv_1, poly, [(2.4,2.1,2.8,17.1), (2,9.4,2.4,10.2)])
R(scn4m_subm_256x8_pinv_1, metal1, [(0,-0.3,6.6,0.3), (1.2,-0.3,2,0.9), (4.8,0,5.6,1.3), (3.3,0.9,3.9,18.7), (1.6,9.4,2.4,10.2), (3.6,9.5,4.2,10.1), (1.2,17.9,2,20.3), (4.8,18.3,5.6,20), (0,19.7,6.6,20.3)])
R(scn4m_subm_256x8_pinv_1, boundary, [(0,0,6.6,20), (0,0,6.6,20)])
scn4m_subm_256x8_pinv_1.add(gdstk.Reference(scn4m_subm_256x8_pmos_m1, (1.2,17.5)))
scn4m_subm_256x8_pinv_1.add(gdstk.Reference(scn4m_subm_256x8_nmos_m1, (1.2,0.9)))
scn4m_subm_256x8_pinv_1.add(gdstk.Reference(c_scn4m_subm_256x8_contact_, (4.8,17.9)))
scn4m_subm_256x8_pinv_1.add(gdstk.Reference(c_scn4m_subm_256x8_contact__, (4.8,0.9)))
scn4m_subm_256x8_pinv_1.add(gdstk.Reference(c_scn4m_subm_256x8_contact___, (1.6,9.4)))
scn4m_subm_256x8_pinv_1.add(gdstk.Label('A', (2,9.8), layer=49, texttype=0))
scn4m_subm_256x8_pinv_1.add(gdstk.Label('Z', (3.9,9.8), layer=49, texttype=0))
scn4m_subm_256x8_pinv_1.add(gdstk.Label('gnd', (3.3,0), layer=49, texttype=0))
scn4m_subm_256x8_pinv_1.add(gdstk.Label('vdd', (3.3,20), layer=49, texttype=0))

scn4m_subm_256x8_pdriver = lib.new_cell('scn4m_subm_256x8_pdriver')
R(scn4m_subm_256x8_pdriver, pwell, [(-1.2,-0.3,7.8,9.6)])
R(scn4m_subm_256x8_pdriver, nwell, [(-1.2,9.6,7.8,21.5)])
R(scn4m_subm_256x8_pdriver, metal1, [(0,-0.3,6.6,0.3), (1.6,9.4,2.4,10.2), (3.6,9.5,4.2,10.1), (0,19.7,6.6,20.3)])
R(scn4m_subm_256x8_pdriver, boundary, [(0,0,6.6,20), (0,0,6.6,20)])
scn4m_subm_256x8_pdriver.add(gdstk.Reference(scn4m_subm_256x8_pinv_1, (0,0)))
scn4m_subm_256x8_pdriver.add(gdstk.Label('Z', (3.9,9.8), layer=49, texttype=0))
scn4m_subm_256x8_pdriver.add(gdstk.Label('A', (2,9.8), layer=49, texttype=0))
scn4m_subm_256x8_pdriver.add(gdstk.Label('gnd', (3.3,0), layer=49, texttype=0))
scn4m_subm_256x8_pdriver.add(gdstk.Label('vdd', (3.3,20), layer=49, texttype=0))

scn4m_subm_256x8_pand3 = lib.new_cell('scn4m_subm_256x8_pand3')
R(scn4m_subm_256x8_pand3, metal1, [(0,-0.3,16.2,0.3), (1.8,2.8,2.6,3.6), (4.2,4.2,5,5), (6.6,5.6,7.4,6.4), (8.7,9.5,9.3,10.1), (9,9.5,11.6,10.1), (13.2,9.5,13.8,10.1), (8.7,9.8,9.3,17), (0,19.7,16.2,20.3)])
R(scn4m_subm_256x8_pand3, boundary, [(0,0,16.2,20), (0,0,16.2,20)])
scn4m_subm_256x8_pand3.add(gdstk.Reference(scn4m_subm_256x8_pnand3_, (0,0)))
scn4m_subm_256x8_pand3.add(gdstk.Reference(scn4m_subm_256x8_pdriver, (9.6,0)))
scn4m_subm_256x8_pand3.add(gdstk.Label('Z', (13.5,9.8), layer=49, texttype=0))
scn4m_subm_256x8_pand3.add(gdstk.Label('A', (2.2,3.2), layer=49, texttype=0))
scn4m_subm_256x8_pand3.add(gdstk.Label('B', (4.6,4.6), layer=49, texttype=0))
scn4m_subm_256x8_pand3.add(gdstk.Label('C', (7,6), layer=49, texttype=0))
scn4m_subm_256x8_pand3.add(gdstk.Label('gnd', (8.1,0), layer=49, texttype=0))
scn4m_subm_256x8_pand3.add(gdstk.Label('vdd', (8.1,20), layer=49, texttype=0))

c_scn4m_subm_256x8_contact____ = lib.new_cell('scn4m_subm_256x8_contact_16')
R(c_scn4m_subm_256x8_contact____, metal1, [(0,0,0.8,0.8)])
R(c_scn4m_subm_256x8_contact____, via1, [(0.2,0.2,0.6,0.6)])
R(c_scn4m_subm_256x8_contact____, metal2, [(0,0,0.8,0.8)])
R(c_scn4m_subm_256x8_contact____, boundary, [(0,0,0.8,0.8)])

c_scn4m_subm_256x8_contact_____ = lib.new_cell('scn4m_subm_256x8_contact_18')
R(c_scn4m_subm_256x8_contact_____, metal1, [(0,0,0.8,0.8)])
R(c_scn4m_subm_256x8_contact_____, via1, [(0.2,0.2,0.6,0.6)])
R(c_scn4m_subm_256x8_contact_____, metal2, [(0,0,0.8,0.8)])
R(c_scn4m_subm_256x8_contact_____, boundary, [(0,0,0.8,0.8)])

c_scn4m_subm_256x8_contact______ = lib.new_cell('scn4m_subm_256x8_contact_19')
R(c_scn4m_subm_256x8_contact______, metal2, [(0,0,0.8,0.8)])
R(c_scn4m_subm_256x8_contact______, via2, [(0.2,0.2,0.6,0.6)])
R(c_scn4m_subm_256x8_contact______, metal3, [(0,0,0.8,0.8)])
R(c_scn4m_subm_256x8_contact______, boundary, [(0,0,0.8,0.8)])

scn4m_subm_256x8_hierarc = lib.new_cell('scn4m_subm_256x8_hierarchical_predecode3x8_0')
A(scn4m_subm_256x8_hierarc, metal1, 15.3, 2.9, 11.7, 0.6, 1, 4, 0, 40)
A(scn4m_subm_256x8_hierarc, metal1, 19.5, 36.5, 7.5, 0.6, 1, 4, 0, 40)
R(scn4m_subm_256x8_hierarc, metal1, [(0,-0.3,41,0.3), (26.7,2.9,27.3,3.5), (16.7,4.3,29.4,4.9), (29.1,4.3,29.7,4.9), (18.1,5.7,31.8,6.3), (31.5,5.7,32.1,6.3), (1.7,9.5,9,10.1), (8.7,9.5,9.3,10.1), (10.9,9.5,11.5,10.1), (11.2,9.5,13.6,10.1), (13.3,9.5,13.9,10.1), (38,9.5,38.6,10.1), (13.3,9.8,13.9,18.6), (13.3,18.3,13.9,18.9), (13.6,18.3,15.3,18.9), (0,19.7,41,20.3), (0,19.7,41,20.3), (3.1,29.9,9,30.5), (8.7,29.9,9.3,30.5), (10.9,29.9,11.5,30.5), (11.2,29.9,13.6,30.5), (13.3,29.9,13.9,30.5), (38,29.9,38.6,30.5), (13.3,30.2,13.9,38.6), (18.1,33.7,31.8,34.3), (31.5,33.7,32.1,34.3), (16.7,35.1,29.4,35.7), (29.1,35.1,29.7,35.7), (26.7,36.5,27.3,37.1), (13.3,38.3,13.9,38.9), (13.6,38.3,16.7,38.9), (0,39.7,41,40.3), (0,39.7,41,40.3), (26.7,42.9,27.3,43.5), (20.9,44.3,29.4,44.9), (29.1,44.3,29.7,44.9), (18.1,45.7,31.8,46.3), (31.5,45.7,32.1,46.3), (4.5,49.5,9,50.1), (8.7,49.5,9.3,50.1), (10.9,49.5,11.5,50.1), (11.2,49.5,13.6,50.1), (13.3,49.5,13.9,50.1), (38,49.5,38.6,50.1), (13.3,49.8,13.9,58.6), (13.3,58.3,13.9,58.9), (13.6,58.3,18.1,58.9), (0,59.7,41,60.3), (0,59.7,41,60.3), (38,69.9,38.6,70.5), (18.1,73.7,31.8,74.3), (31.5,73.7,32.1,74.3), (20.9,75.1,29.4,75.7), (29.1,75.1,29.7,75.7), (26.7,76.5,27.3,77.1), (0,79.7,41,80.3), (0,79.7,41,80.3), (26.7,82.9,27.3,83.5), (16.7,84.3,29.4,84.9), (29.1,84.3,29.7,84.9), (22.3,85.7,31.8,86.3), (31.5,85.7,32.1,86.3), (38,89.5,38.6,90.1), (0,99.7,41,100.3), (0,99.7,41,100.3), (38,109.9,38.6,110.5), (22.3,113.7,31.8,114.3), (31.5,113.7,32.1,114.3), (16.7,115.1,29.4,115.7), (29.1,115.1,29.7,115.7), (26.7,116.5,27.3,117.1), (0,119.7,41,120.3), (0,119.7,41,120.3), (26.7,122.9,27.3,123.5), (20.9,124.3,29.4,124.9), (29.1,124.3,29.7,124.9), (22.3,125.7,31.8,126.3), (31.5,125.7,32.1,126.3), (38,129.5,38.6,130.1), (0,139.7,41,140.3), (0,139.7,41,140.3), (38,149.9,38.6,150.5), (4.5,153.7,22.3,154.3), (22.3,153.7,31.8,154.3), (31.5,153.7,32.1,154.3), (3.1,155.1,20.9,155.7), (20.9,155.1,29.4,155.7), (29.1,155.1,29.7,155.7), (1.7,156.5,19.5,157.1), (26.7,156.5,27.3,157.1), (0,159.7,41,160.3)])
A(scn4m_subm_256x8_hierarc, metal2, 1.4, 1.4, 0.6, 158.6, 3, 1, 1.4, 0)
A(scn4m_subm_256x8_hierarc, metal2, 15, 1.4, 0.6, 158.6, 6, 1, 1.4, 0)
R(scn4m_subm_256x8_hierarc, metal2, [(1.3,9.4,2.1,10.2), (2.7,29.8,3.5,30.6), (4.1,49.4,4.9,50.2)])
A(scn4m_subm_256x8_hierarc, metal3, 6, -0.4, 0.8, 0.8, 1, 5, 0, 40)
A(scn4m_subm_256x8_hierarc, metal3, 23.8, 19.6, 0.8, 0.8, 1, 4, 0, 40)
R(scn4m_subm_256x8_hierarc, boundary, [(0,0,41,160)])
scn4m_subm_256x8_hierarc.add(gdstk.Reference(scn4m_subm_256x8_pinv_2, (7,0)))
scn4m_subm_256x8_hierarc.add(gdstk.Reference(scn4m_subm_256x8_pinv_2, (7,40), x_reflection=True))
scn4m_subm_256x8_hierarc.add(gdstk.Reference(scn4m_subm_256x8_pinv_2, (7,40)))
scn4m_subm_256x8_hierarc.add(gdstk.Reference(scn4m_subm_256x8_pand3, (24.8,0)))
scn4m_subm_256x8_hierarc.add(gdstk.Reference(scn4m_subm_256x8_pand3, (24.8,40), x_reflection=True))
scn4m_subm_256x8_hierarc.add(gdstk.Reference(scn4m_subm_256x8_pand3, (24.8,40)))
scn4m_subm_256x8_hierarc.add(gdstk.Reference(scn4m_subm_256x8_pand3, (24.8,80), x_reflection=True))
scn4m_subm_256x8_hierarc.add(gdstk.Reference(scn4m_subm_256x8_pand3, (24.8,80)))
scn4m_subm_256x8_hierarc.add(gdstk.Reference(scn4m_subm_256x8_pand3, (24.8,120), x_reflection=True))
scn4m_subm_256x8_hierarc.add(gdstk.Reference(scn4m_subm_256x8_pand3, (24.8,120)))
scn4m_subm_256x8_hierarc.add(gdstk.Reference(scn4m_subm_256x8_pand3, (24.8,160), x_reflection=True))
scn4m_subm_256x8_hierarc.add(gdstk.Reference(c_scn4m_subm_256x8_contact____, (1.3,9.4)))
scn4m_subm_256x8_hierarc.add(gdstk.Reference(c_scn4m_subm_256x8_contact____, (2.7,29.8)))
scn4m_subm_256x8_hierarc.add(gdstk.Reference(c_scn4m_subm_256x8_contact____, (4.1,49.4)))
scn4m_subm_256x8_hierarc.add(gdstk.Reference(c_scn4m_subm_256x8_contact____, (14.9,2.8)))
scn4m_subm_256x8_hierarc.add(gdstk.Reference(c_scn4m_subm_256x8_contact____, (16.3,4.2)))
scn4m_subm_256x8_hierarc.add(gdstk.Reference(c_scn4m_subm_256x8_contact____, (17.7,5.6)))
scn4m_subm_256x8_hierarc.add(gdstk.Reference(c_scn4m_subm_256x8_contact____, (19.1,36.4)))
scn4m_subm_256x8_hierarc.add(gdstk.Reference(c_scn4m_subm_256x8_contact____, (16.3,35)))
scn4m_subm_256x8_hierarc.add(gdstk.Reference(c_scn4m_subm_256x8_contact____, (17.7,33.6)))
scn4m_subm_256x8_hierarc.add(gdstk.Reference(c_scn4m_subm_256x8_contact____, (14.9,42.8)))
scn4m_subm_256x8_hierarc.add(gdstk.Reference(c_scn4m_subm_256x8_contact____, (20.5,44.2)))
scn4m_subm_256x8_hierarc.add(gdstk.Reference(c_scn4m_subm_256x8_contact____, (17.7,45.6)))
scn4m_subm_256x8_hierarc.add(gdstk.Reference(c_scn4m_subm_256x8_contact____, (19.1,76.4)))
scn4m_subm_256x8_hierarc.add(gdstk.Reference(c_scn4m_subm_256x8_contact____, (20.5,75)))
scn4m_subm_256x8_hierarc.add(gdstk.Reference(c_scn4m_subm_256x8_contact____, (17.7,73.6)))
scn4m_subm_256x8_hierarc.add(gdstk.Reference(c_scn4m_subm_256x8_contact____, (14.9,82.8)))
scn4m_subm_256x8_hierarc.add(gdstk.Reference(c_scn4m_subm_256x8_contact____, (16.3,84.2)))
scn4m_subm_256x8_hierarc.add(gdstk.Reference(c_scn4m_subm_256x8_contact____, (21.9,85.6)))
scn4m_subm_256x8_hierarc.add(gdstk.Reference(c_scn4m_subm_256x8_contact____, (19.1,116.4)))
scn4m_subm_256x8_hierarc.add(gdstk.Reference(c_scn4m_subm_256x8_contact____, (16.3,115)))
scn4m_subm_256x8_hierarc.add(gdstk.Reference(c_scn4m_subm_256x8_contact____, (21.9,113.6)))
scn4m_subm_256x8_hierarc.add(gdstk.Reference(c_scn4m_subm_256x8_contact____, (14.9,122.8)))
scn4m_subm_256x8_hierarc.add(gdstk.Reference(c_scn4m_subm_256x8_contact____, (20.5,124.2)))
scn4m_subm_256x8_hierarc.add(gdstk.Reference(c_scn4m_subm_256x8_contact____, (21.9,125.6)))
scn4m_subm_256x8_hierarc.add(gdstk.Reference(c_scn4m_subm_256x8_contact____, (19.1,156.4)))
scn4m_subm_256x8_hierarc.add(gdstk.Reference(c_scn4m_subm_256x8_contact____, (20.5,155)))
scn4m_subm_256x8_hierarc.add(gdstk.Reference(c_scn4m_subm_256x8_contact____, (21.9,153.6)))
scn4m_subm_256x8_hierarc.add(gdstk.Reference(c_scn4m_subm_256x8_contact____, (14.9,18.2)))
scn4m_subm_256x8_hierarc.add(gdstk.Reference(c_scn4m_subm_256x8_contact____, (16.3,38.2)))
scn4m_subm_256x8_hierarc.add(gdstk.Reference(c_scn4m_subm_256x8_contact____, (17.7,58.2)))
scn4m_subm_256x8_hierarc.add(gdstk.Reference(c_scn4m_subm_256x8_contact_____, (1.3,156.4)))
scn4m_subm_256x8_hierarc.add(gdstk.Reference(c_scn4m_subm_256x8_contact_____, (19.1,156.4)))
scn4m_subm_256x8_hierarc.add(gdstk.Reference(c_scn4m_subm_256x8_contact_____, (2.7,155)))
scn4m_subm_256x8_hierarc.add(gdstk.Reference(c_scn4m_subm_256x8_contact_____, (20.5,155)))
scn4m_subm_256x8_hierarc.add(gdstk.Reference(c_scn4m_subm_256x8_contact_____, (4.1,153.6)))
scn4m_subm_256x8_hierarc.add(gdstk.Reference(c_scn4m_subm_256x8_contact_____, (21.9,153.6)))
scn4m_subm_256x8_hierarc.add(gdstk.Reference(c_scn4m_subm_256x8_contact_____, (23.8,19.6)))
scn4m_subm_256x8_hierarc.add(gdstk.Reference(c_scn4m_subm_256x8_contact______, (23.8,19.6)))
scn4m_subm_256x8_hierarc.add(gdstk.Reference(c_scn4m_subm_256x8_contact_____, (6,-0.4)))
scn4m_subm_256x8_hierarc.add(gdstk.Reference(c_scn4m_subm_256x8_contact______, (6,-0.4)))
scn4m_subm_256x8_hierarc.add(gdstk.Reference(c_scn4m_subm_256x8_contact_____, (23.8,19.6)))
scn4m_subm_256x8_hierarc.add(gdstk.Reference(c_scn4m_subm_256x8_contact______, (23.8,19.6)))
scn4m_subm_256x8_hierarc.add(gdstk.Reference(c_scn4m_subm_256x8_contact_____, (6,39.6)))
scn4m_subm_256x8_hierarc.add(gdstk.Reference(c_scn4m_subm_256x8_contact______, (6,39.6)))
scn4m_subm_256x8_hierarc.add(gdstk.Reference(c_scn4m_subm_256x8_contact_____, (23.8,59.6)))
scn4m_subm_256x8_hierarc.add(gdstk.Reference(c_scn4m_subm_256x8_contact______, (23.8,59.6)))
scn4m_subm_256x8_hierarc.add(gdstk.Reference(c_scn4m_subm_256x8_contact_____, (6,39.6)))
scn4m_subm_256x8_hierarc.add(gdstk.Reference(c_scn4m_subm_256x8_contact______, (6,39.6)))
scn4m_subm_256x8_hierarc.add(gdstk.Reference(c_scn4m_subm_256x8_contact_____, (23.8,59.6)))
scn4m_subm_256x8_hierarc.add(gdstk.Reference(c_scn4m_subm_256x8_contact______, (23.8,59.6)))
scn4m_subm_256x8_hierarc.add(gdstk.Reference(c_scn4m_subm_256x8_contact_____, (6,79.6)))
scn4m_subm_256x8_hierarc.add(gdstk.Reference(c_scn4m_subm_256x8_contact______, (6,79.6)))
scn4m_subm_256x8_hierarc.add(gdstk.Reference(c_scn4m_subm_256x8_contact_____, (23.8,99.6)))
scn4m_subm_256x8_hierarc.add(gdstk.Reference(c_scn4m_subm_256x8_contact______, (23.8,99.6)))
scn4m_subm_256x8_hierarc.add(gdstk.Reference(c_scn4m_subm_256x8_contact_____, (6,79.6)))
scn4m_subm_256x8_hierarc.add(gdstk.Reference(c_scn4m_subm_256x8_contact______, (6,79.6)))
scn4m_subm_256x8_hierarc.add(gdstk.Reference(c_scn4m_subm_256x8_contact_____, (23.8,99.6)))
scn4m_subm_256x8_hierarc.add(gdstk.Reference(c_scn4m_subm_256x8_contact______, (23.8,99.6)))
scn4m_subm_256x8_hierarc.add(gdstk.Reference(c_scn4m_subm_256x8_contact_____, (6,119.6)))
scn4m_subm_256x8_hierarc.add(gdstk.Reference(c_scn4m_subm_256x8_contact______, (6,119.6)))
scn4m_subm_256x8_hierarc.add(gdstk.Reference(c_scn4m_subm_256x8_contact_____, (23.8,139.6)))
scn4m_subm_256x8_hierarc.add(gdstk.Reference(c_scn4m_subm_256x8_contact______, (23.8,139.6)))
scn4m_subm_256x8_hierarc.add(gdstk.Reference(c_scn4m_subm_256x8_contact_____, (6,119.6)))
scn4m_subm_256x8_hierarc.add(gdstk.Reference(c_scn4m_subm_256x8_contact______, (6,119.6)))
scn4m_subm_256x8_hierarc.add(gdstk.Reference(c_scn4m_subm_256x8_contact_____, (23.8,139.6)))
scn4m_subm_256x8_hierarc.add(gdstk.Reference(c_scn4m_subm_256x8_contact______, (23.8,139.6)))
scn4m_subm_256x8_hierarc.add(gdstk.Reference(c_scn4m_subm_256x8_contact_____, (6,159.6)))
scn4m_subm_256x8_hierarc.add(gdstk.Reference(c_scn4m_subm_256x8_contact______, (6,159.6)))
scn4m_subm_256x8_hierarc.add(gdstk.Label('in_0', (1.7,9.8), layer=51, texttype=0))
scn4m_subm_256x8_hierarc.add(gdstk.Label('in_1', (3.1,30.2), layer=51, texttype=0))
scn4m_subm_256x8_hierarc.add(gdstk.Label('in_2', (4.5,49.8), layer=51, texttype=0))
scn4m_subm_256x8_hierarc.add(gdstk.Label('out_0', (38.3,9.8), layer=49, texttype=0))
scn4m_subm_256x8_hierarc.add(gdstk.Label('out_1', (38.3,30.2), layer=49, texttype=0))
scn4m_subm_256x8_hierarc.add(gdstk.Label('out_2', (38.3,49.8), layer=49, texttype=0))
scn4m_subm_256x8_hierarc.add(gdstk.Label('out_3', (38.3,70.2), layer=49, texttype=0))
scn4m_subm_256x8_hierarc.add(gdstk.Label('out_4', (38.3,89.8), layer=49, texttype=0))
scn4m_subm_256x8_hierarc.add(gdstk.Label('out_5', (38.3,110.2), layer=49, texttype=0))
scn4m_subm_256x8_hierarc.add(gdstk.Label('out_6', (38.3,129.8), layer=49, texttype=0))
scn4m_subm_256x8_hierarc.add(gdstk.Label('out_7', (38.3,150.2), layer=49, texttype=0))
scn4m_subm_256x8_hierarc.add(gdstk.Label('vdd', (24.2,60), layer=62, texttype=0))
scn4m_subm_256x8_hierarc.add(gdstk.Label('vdd', (24.2,20), layer=62, texttype=0))
scn4m_subm_256x8_hierarc.add(gdstk.Label('vdd', (24.2,140), layer=62, texttype=0))
scn4m_subm_256x8_hierarc.add(gdstk.Label('vdd', (24.2,100), layer=62, texttype=0))
scn4m_subm_256x8_hierarc.add(gdstk.Label('gnd', (6.4,120), layer=62, texttype=0))
scn4m_subm_256x8_hierarc.add(gdstk.Label('gnd', (6.4,40), layer=62, texttype=0))
scn4m_subm_256x8_hierarc.add(gdstk.Label('gnd', (6.4,160), layer=62, texttype=0))
scn4m_subm_256x8_hierarc.add(gdstk.Label('gnd', (6.4,80), layer=62, texttype=0))
scn4m_subm_256x8_hierarc.add(gdstk.Label('gnd', (6.4,0), layer=62, texttype=0))

c_scn4m_subm_256x8_contact_______ = lib.new_cell('scn4m_subm_256x8_contact_22')
R(c_scn4m_subm_256x8_contact_______, via3, [(0.4,0.4,0.8,0.8)])
R(c_scn4m_subm_256x8_contact_______, metal4, [(0,0,1.2,1.2)])
R(c_scn4m_subm_256x8_contact_______, metal3, [(0.2,0.2,1,1)])
R(c_scn4m_subm_256x8_contact_______, boundary, [(0,0,1.2,1.2)])

scn4m_subm_256x8_column_ = lib.new_cell('scn4m_subm_256x8_column_decoder')
R(scn4m_subm_256x8_column_, metal4, [(5.4,-1,6.6,161), (24,-0.6,25.2,160.6)])
R(scn4m_subm_256x8_column_, metal1, [(38,9.5,38.6,10.1), (38,29.9,38.6,30.5), (38,49.5,38.6,50.1), (38,69.9,38.6,70.5), (38,89.5,38.6,90.1), (38,109.9,38.6,110.5), (38,129.5,38.6,130.1), (38,149.9,38.6,150.5)])
R(scn4m_subm_256x8_column_, metal2, [(1.3,9.4,2.1,10.2), (2.7,29.8,3.5,30.6), (4.1,49.4,4.9,50.2)])
R(scn4m_subm_256x8_column_, boundary, [(0,-1,41,161)])
scn4m_subm_256x8_column_.add(gdstk.Reference(scn4m_subm_256x8_hierarc, (0,0)))
scn4m_subm_256x8_column_.add(gdstk.Reference(c_scn4m_subm_256x8_contact_______, (24,59.4)))
scn4m_subm_256x8_column_.add(gdstk.Reference(c_scn4m_subm_256x8_contact_______, (24,19.4)))
scn4m_subm_256x8_column_.add(gdstk.Reference(c_scn4m_subm_256x8_contact_______, (24,99.4)))
scn4m_subm_256x8_column_.add(gdstk.Reference(c_scn4m_subm_256x8_contact_______, (24,139.4)))
scn4m_subm_256x8_column_.add(gdstk.Reference(c_scn4m_subm_256x8_contact_______, (5.4,119.4)))
scn4m_subm_256x8_column_.add(gdstk.Reference(c_scn4m_subm_256x8_contact_______, (5.4,39.4)))
scn4m_subm_256x8_column_.add(gdstk.Reference(c_scn4m_subm_256x8_contact_______, (5.4,159.4)))
scn4m_subm_256x8_column_.add(gdstk.Reference(c_scn4m_subm_256x8_contact_______, (5.4,79.4)))
scn4m_subm_256x8_column_.add(gdstk.Reference(c_scn4m_subm_256x8_contact_______, (5.4,-0.6)))
scn4m_subm_256x8_column_.add(gdstk.Label('in_0', (1.7,9.8), layer=51, texttype=0))
scn4m_subm_256x8_column_.add(gdstk.Label('in_1', (3.1,30.2), layer=51, texttype=0))
scn4m_subm_256x8_column_.add(gdstk.Label('in_2', (4.5,49.8), layer=51, texttype=0))
scn4m_subm_256x8_column_.add(gdstk.Label('out_0', (38.3,9.8), layer=49, texttype=0))
scn4m_subm_256x8_column_.add(gdstk.Label('out_1', (38.3,30.2), layer=49, texttype=0))
scn4m_subm_256x8_column_.add(gdstk.Label('out_2', (38.3,49.8), layer=49, texttype=0))
scn4m_subm_256x8_column_.add(gdstk.Label('out_3', (38.3,70.2), layer=49, texttype=0))
scn4m_subm_256x8_column_.add(gdstk.Label('out_4', (38.3,89.8), layer=49, texttype=0))
scn4m_subm_256x8_column_.add(gdstk.Label('out_5', (38.3,110.2), layer=49, texttype=0))
scn4m_subm_256x8_column_.add(gdstk.Label('out_6', (38.3,129.8), layer=49, texttype=0))
scn4m_subm_256x8_column_.add(gdstk.Label('out_7', (38.3,150.2), layer=49, texttype=0))
scn4m_subm_256x8_column_.add(gdstk.Label('vdd', (24.6,80), layer=31, texttype=0))
scn4m_subm_256x8_column_.add(gdstk.Label('gnd', (6,80), layer=31, texttype=0))

lib.write_gds('scn4m_subm_256x8_column_decoder.gds')
